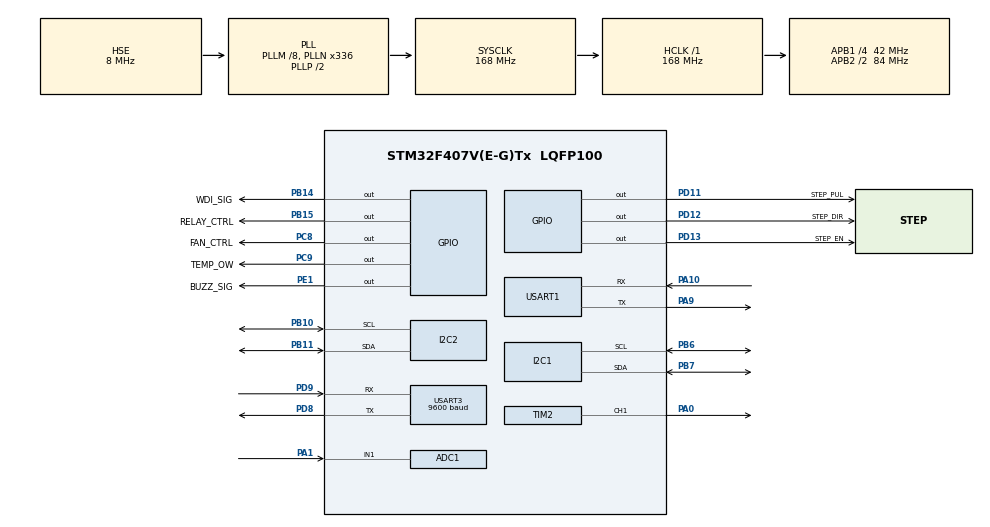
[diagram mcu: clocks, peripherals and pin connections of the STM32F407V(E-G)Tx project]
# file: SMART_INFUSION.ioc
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ADC1.Channel-0\#ChannelRegularConversion=ADC_CHANNEL_1
ADC1.NbrOfConversionFlag=1
ADC1.Rank-0\#ChannelRegularConversion=1
ADC1.SamplingTime-0\#ChannelRegularConversion=ADC_SAMPLETIME_3CYCLES
ADC1.master=1
FREERTOS.BinarySemaphores01=emergencyStopSem,Dynamic,NULL,Depleted
FREERTOS.INCLUDE_pcTaskGetTaskName=1
FREERTOS.Mutexes01=i2c1Mutex,Dynamic,NULL,Available;i2c2Mutex,Dynamic,NULL,Available
FREERTOS.Tasks01=defaultTask,24,256,StartDefaultTask,As weak,NULL,Dynamic,NULL,NULL;MotorTask,32,512,vMotorControlTask,As weak,NULL,Dynamic,NULL,NULL;SafetyTask,48,256,vSafetyMonitorTask,As weak,NULL,Dynamic,NULL,NULL;TempTask,24,256,vTemperatureTask,As weak,NULL,Dynamic,NULL,NULL;DisplayTask,16,512,vDisplayTask,As weak,NULL,Dynamic,NULL,NULL;CommTask,16,512,vCommunicationTask,As weak,NULL,Dynamic,NULL,NULL;PressureTask,24,256,vPressureTask,As weak,NULL,Dynamic,NULL,NULL
FREERTOS.configQUEUE_REGISTRY_SIZE=10
FREERTOS.configTOTAL_HEAP_SIZE=32768
I2C1.I2C_Mode=I2C_Fast
I2C2.I2C_Mode=I2C_Fast
Mcu.Family=STM32F4
Mcu.Name=STM32F407V(E-G)Tx
Mcu.Package=LQFP100
NVIC.ADC_IRQn=true\:5\:0\:false\:false\:true\:true\:true\:true\:true
NVIC.I2C1_ER_IRQn=true\:5\:0\:false\:false\:true\:true\:true\:true\:true
NVIC.I2C1_EV_IRQn=true\:5\:0\:false\:false\:true\:true\:true\:true\:true
NVIC.I2C2_ER_IRQn=true\:5\:0\:false\:false\:true\:true\:true\:true\:true
NVIC.I2C2_EV_IRQn=true\:5\:0\:false\:false\:true\:true\:true\:true\:true
NVIC.PriorityGroup=NVIC_PRIORITYGROUP_4
NVIC.TIM3_IRQn=true\:5\:0\:false\:false\:true\:true\:true\:true\:true
NVIC.USART1_IRQn=true\:5\:0\:false\:false\:true\:true\:true\:true\:true
NVIC.USART3_IRQn=true\:5\:0\:false\:false\:true\:true\:true\:true\:true
PA0-WKUP.Signal=S_TIM2_CH1_ETR
PA1.Signal=ADCx_IN1
PA10.Mode=Asynchronous
PA10.Signal=USART1_RX
PA13.Mode=Serial_Wire
PA13.Signal=SYS_JTMS-SWDIO
PA14.Mode=Serial_Wire
PA14.Signal=SYS_JTCK-SWCLK
PA9.Mode=Asynchronous
PA9.Signal=USART1_TX
PB10.Mode=I2C
PB10.Signal=I2C2_SCL
PB11.Mode=I2C
PB11.Signal=I2C2_SDA
PB14.GPIO_Label=WDI_SIG
PB14.GPIO_Speed=GPIO_SPEED_FREQ_HIGH
PB14.Signal=GPIO_Output
PB15.GPIO_Label=RELAY_CTRL
PB15.Signal=GPIO_Output
PB6.Mode=I2C
PB6.Signal=I2C1_SCL
PB7.Mode=I2C
PB7.Signal=I2C1_SDA
PC8.GPIO_Label=FAN_CTRL
PC8.Signal=GPIO_Output
PC9.GPIO_Label=TEMP_OW
PC9.GPIO_ModeDefaultOutputPP=GPIO_MODE_OUTPUT_OD
PC9.GPIO_PuPd=GPIO_NOPULL
PC9.GPIO_Speed=GPIO_SPEED_FREQ_VERY_HIGH
PC9.PinState=GPIO_PIN_SET
PC9.Signal=GPIO_Output
PD11.GPIO_Label=STEP_PUL
PD11.GPIO_Speed=GPIO_SPEED_FREQ_VERY_HIGH
PD11.Signal=GPIO_Output
PD12.GPIO_Label=STEP_DIR
PD12.Signal=GPIO_Output
PD13.GPIO_Label=STEP_EN
PD13.Signal=GPIO_Output
PD8.Mode=Asynchronous
PD8.Signal=USART3_TX
PD9.Mode=Asynchronous
PD9.Signal=USART3_RX
PE1.GPIO_Label=BUZZ_SIG
PE1.Signal=GPIO_Output
PH0-OSC_IN.Mode=HSE-External-Oscillator
PH0-OSC_IN.Signal=RCC_OSC_IN
PH1-OSC_OUT.Mode=HSE-External-Oscillator
PH1-OSC_OUT.Signal=RCC_OSC_OUT
ProjectManager.HeapSize=0x400
ProjectManager.StackSize=0x800
ProjectManager.TargetToolchain=STM32CubeIDE
RCC.48MHZClocksFreq_Value=84000000
RCC.AHBFreq_Value=168000000
RCC.APB1CLKDivider=RCC_HCLK_DIV4
RCC.APB1Freq_Value=42000000
RCC.APB1TimFreq_Value=84000000
RCC.APB2CLKDivider=RCC_HCLK_DIV2
RCC.APB2Freq_Value=84000000
RCC.APB2TimFreq_Value=168000000
RCC.CortexFreq_Value=168000000
RCC.HCLKFreq_Value=168000000
RCC.HSE_VALUE=8000000
RCC.HSI_VALUE=16000000
RCC.LSE_VALUE=32768
RCC.PLLM=8
RCC.PLLN=336
RCC.PLLSourceVirtual=RCC_PLLSOURCE_HSE
RCC.SYSCLKFreq_VALUE=168000000
RCC.SYSCLKSource=RCC_SYSCLKSOURCE_PLLCLK
RCC.VCOOutputFreq_Value=336000000
SH.ADCx_IN1.0=ADC1_IN1,IN1
SH.S_TIM2_CH1_ETR.0=TIM2_CH1,PWM Generation1 CH1
TIM2.AutoReloadPreload=TIM_AUTORELOAD_PRELOAD_ENABLE
TIM2.Channel-PWM\ Generation1\ CH1=TIM_CHANNEL_1
TIM2.Period=999
TIM2.Prescaler=167
TIM3.AutoReloadPreload=TIM_AUTORELOAD_PRELOAD_ENABLE
TIM3.Period=999
TIM3.Prescaler=41
USART1.VirtualMode=VM_ASYNC
USART3.BaudRate=9600
USART3.VirtualMode=VM_ASYNC
VP_FREERTOS_VS_CMSIS_V2.Mode=CMSIS_V2
VP_TIM2_VS_ClockSourceINT.Mode=Internal
VP_TIM3_VS_ClockSourceINT.Mode=Internal
board=custom

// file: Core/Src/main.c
/* USER CODE BEGIN Header */
/**
  ******************************************************************************
  * @file           : main.c
  * @brief          : Main program body
  ******************************************************************************
  * @attention
  *
  * Copyright (c) 2026 STMicroelectronics.
  * All rights reserved.
  *
  * This software is licensed under terms that can be found in the LICENSE file
  * in the root directory of this software component.
  * If no LICENSE file comes with this software, it is provided AS-IS.
  *
  ******************************************************************************
  */
/* USER CODE END Header */
#include "main.h"
#include "cmsis_os.h"

/* USER CODE BEGIN Includes */
#include "app_data.h"
/* USER CODE END Includes */

ADC_HandleTypeDef hadc1;

I2C_HandleTypeDef hi2c1;
I2C_HandleTypeDef hi2c2;

TIM_HandleTypeDef htim2;
TIM_HandleTypeDef htim3;

UART_HandleTypeDef huart1;
UART_HandleTypeDef huart3;

/* Definitions for defaultTask */
osThreadId_t defaultTaskHandle;
const osThreadAttr_t defaultTask_attributes = {
  .name = "defaultTask",
  .stack_size = 256 * 4,
  .priority = (osPriority_t) osPriorityNormal,
};
/* Definitions for MotorTask */
osThreadId_t MotorTaskHandle;
const osThreadAttr_t MotorTask_attributes = {
  .name = "MotorTask",
  .stack_size = 512 * 4,
  .priority = (osPriority_t) osPriorityAboveNormal,
};
/* Definitions for SafetyTask */
osThreadId_t SafetyTaskHandle;
const osThreadAttr_t SafetyTask_attributes = {
  .name = "SafetyTask",
  .stack_size = 256 * 4,
  .priority = (osPriority_t) osPriorityRealtime,
};
/* Definitions for TempTask */
osThreadId_t TempTaskHandle;
const osThreadAttr_t TempTask_attributes = {
  .name = "TempTask",
  .stack_size = 256 * 4,
  .priority = (osPriority_t) osPriorityNormal,
};
/* Definitions for DisplayTask */
osThreadId_t DisplayTaskHandle;
const osThreadAttr_t DisplayTask_attributes = {
  .name = "DisplayTask",
  .stack_size = 512 * 4,
  .priority = (osPriority_t) osPriorityBelowNormal,
};
/* Definitions for CommTask */
osThreadId_t CommTaskHandle;
const osThreadAttr_t CommTask_attributes = {
  .name = "CommTask",
  .stack_size = 512 * 4,
  .priority = (osPriority_t) osPriorityBelowNormal,
};
/* Definitions for PressureTask */
osThreadId_t PressureTaskHandle;
const osThreadAttr_t PressureTask_attributes = {
  .name = "PressureTask",
  .stack_size = 256 * 4,
  .priority = (osPriority_t) osPriorityNormal,
};
/* Definitions for i2c1Mutex */
osMutexId_t i2c1MutexHandle;
const osMutexAttr_t i2c1Mutex_attributes = {
  .name = "i2c1Mutex"
};
/* Definitions for i2c2Mutex */
osMutexId_t i2c2MutexHandle;
const osMutexAttr_t i2c2Mutex_attributes = {
  .name = "i2c2Mutex"
};
/* Definitions for uart3Mutex */
osMutexId_t uart3MutexHandle;
const osMutexAttr_t uart3Mutex_attributes = {
  .name = "uart3Mutex"
};
/* Definitions for emergencyStopSem */
osSemaphoreId_t emergencyStopSemHandle;
const osSemaphoreAttr_t emergencyStopSem_attributes = {
  .name = "emergencyStopSem"
};

void SystemClock_Config(void);
static void MX_GPIO_Init(void);
static void MX_I2C1_Init(void);
static void MX_I2C2_Init(void);
static void MX_TIM2_Init(void);
static void MX_TIM3_Init(void);
static void MX_USART1_UART_Init(void);
static void MX_USART3_UART_Init(void);
static void MX_ADC1_Init(void);
void StartDefaultTask(void *argument);
void vMotorControlTask(void *argument);
void vSafetyMonitorTask(void *argument);
void vTemperatureTask(void *argument);
void vDisplayTask(void *argument);
void vCommunicationTask(void *argument);
void vPressureTask(void *argument);

int main(void)
{

  /* MCU Configuration--------------------------------------------------------*/

  /* Reset of all peripherals, Initializes the Flash interface and the Systick. */
  HAL_Init();

  /* Configure the system clock */
  SystemClock_Config();

  /* Initialize all configured peripherals */
  MX_GPIO_Init();
  MX_I2C1_Init();
  MX_I2C2_Init();
  MX_TIM2_Init();
  MX_TIM3_Init();
  MX_USART1_UART_Init();
  MX_USART3_UART_Init();
  MX_ADC1_Init();
  /* USER CODE BEGIN 2 */
  HAL_TIM_Base_Start_IT(&htim3);

  /* Fix ADC1 sampling time to 480 cycles */
  /* for accurate VREF measurement */
  ADC_ChannelConfTypeDef adcFix = {0};
  adcFix.Channel = ADC_CHANNEL_1;
  adcFix.Rank = 1;
  adcFix.SamplingTime = ADC_SAMPLETIME_480CYCLES;
  HAL_ADC_ConfigChannel(&hadc1, &adcFix);
  /* USER CODE END 2 */

  /* Init scheduler */
  osKernelInitialize();
  /* Create the mutex(es) */
  /* creation of i2c1Mutex */
  i2c1MutexHandle = osMutexNew(&i2c1Mutex_attributes);

  /* creation of i2c2Mutex */
  i2c2MutexHandle = osMutexNew(&i2c2Mutex_attributes);

  /* creation of uart3Mutex */
  uart3MutexHandle = osMutexNew(
      &uart3Mutex_attributes);

  /* Create the semaphores(s) */
  /* creation of emergencyStopSem */
  emergencyStopSemHandle = osSemaphoreNew(1, 0, &emergencyStopSem_attributes);

  /* USER CODE BEGIN RTOS_QUEUES */

  motorCommandQueueHandle = osMessageQueueNew(5,
      sizeof(MotorCommand_t), NULL);

  temperatureQueueHandle = osMessageQueueNew(1,
      sizeof(float), NULL);

  flowRateQueueHandle = osMessageQueueNew(1,
      sizeof(float), NULL);

  volumeQueueHandle = osMessageQueueNew(1,
      sizeof(float), NULL);

  alarmQueueHandle = osMessageQueueNew(1,
      sizeof(AlarmState_t), NULL);

  batteryQueueHandle = osMessageQueueNew(1,
      sizeof(uint8_t), NULL);

  /* USER CODE END RTOS_QUEUES */

  /* Create the thread(s) */
  /* creation of defaultTask */
  defaultTaskHandle = osThreadNew(StartDefaultTask, NULL, &defaultTask_attributes);

  /* creation of MotorTask */
  MotorTaskHandle = osThreadNew(vMotorControlTask, NULL, &MotorTask_attributes);

  /* creation of SafetyTask */
  SafetyTaskHandle = osThreadNew(vSafetyMonitorTask, NULL, &SafetyTask_attributes);

  /* creation of TempTask */
  TempTaskHandle = osThreadNew(vTemperatureTask, NULL, &TempTask_attributes);

  /* creation of DisplayTask */
  DisplayTaskHandle = osThreadNew(vDisplayTask, NULL, &DisplayTask_attributes);

  /* creation of CommTask */
  CommTaskHandle = osThreadNew(vCommunicationTask, NULL, &CommTask_attributes);

  /* creation of PressureTask */
  PressureTaskHandle = osThreadNew(vPressureTask, NULL, &PressureTask_attributes);

  /* Start scheduler */
  osKernelStart();

  /* We should never get here as control is now taken by the scheduler */

  /* Infinite loop */
  while (1)
  {

  }
}

void SystemClock_Config(void)
{
  RCC_OscInitTypeDef RCC_OscInitStruct = {0};
  RCC_ClkInitTypeDef RCC_ClkInitStruct = {0};

  /** Configure the main internal regulator output voltage
  */
  __HAL_RCC_PWR_CLK_ENABLE();
  __HAL_PWR_VOLTAGESCALING_CONFIG(PWR_REGULATOR_VOLTAGE_SCALE1);

  /** Initializes the RCC Oscillators according to the specified parameters
  * in the RCC_OscInitTypeDef structure.
  */
  RCC_OscInitStruct.OscillatorType = RCC_OSCILLATORTYPE_HSE;
  RCC_OscInitStruct.HSEState = RCC_HSE_ON;
  RCC_OscInitStruct.PLL.PLLState = RCC_PLL_ON;
  RCC_OscInitStruct.PLL.PLLSource = RCC_PLLSOURCE_HSE;
  RCC_OscInitStruct.PLL.PLLM = 8;
  RCC_OscInitStruct.PLL.PLLN = 336;
  RCC_OscInitStruct.PLL.PLLP = RCC_PLLP_DIV2;
  RCC_OscInitStruct.PLL.PLLQ = 4;
  if (HAL_RCC_OscConfig(&RCC_OscInitStruct) != HAL_OK)
  {
    Error_Handler();
  }

  /** Initializes the CPU, AHB and APB buses clocks
  */
  RCC_ClkInitStruct.ClockType = RCC_CLOCKTYPE_HCLK|RCC_CLOCKTYPE_SYSCLK
                              |RCC_CLOCKTYPE_PCLK1|RCC_CLOCKTYPE_PCLK2;
  RCC_ClkInitStruct.SYSCLKSource = RCC_SYSCLKSOURCE_PLLCLK;
  RCC_ClkInitStruct.AHBCLKDivider = RCC_SYSCLK_DIV1;
  RCC_ClkInitStruct.APB1CLKDivider = RCC_HCLK_DIV4;
  RCC_ClkInitStruct.APB2CLKDivider = RCC_HCLK_DIV2;

  if (HAL_RCC_ClockConfig(&RCC_ClkInitStruct, FLASH_LATENCY_5) != HAL_OK)
  {
    Error_Handler();
  }
}

static void MX_ADC1_Init(void)
{

  ADC_ChannelConfTypeDef sConfig = {0};

  /** Configure the global features of the ADC (Clock, Resolution, Data Alignment and number of conversion)
  */
  hadc1.Instance = ADC1;
  hadc1.Init.ClockPrescaler = ADC_CLOCK_SYNC_PCLK_DIV4;
  hadc1.Init.Resolution = ADC_RESOLUTION_12B;
  hadc1.Init.ScanConvMode = DISABLE;
  hadc1.Init.ContinuousConvMode = DISABLE;
  hadc1.Init.DiscontinuousConvMode = DISABLE;
  hadc1.Init.ExternalTrigConvEdge = ADC_EXTERNALTRIGCONVEDGE_NONE;
  hadc1.Init.ExternalTrigConv = ADC_SOFTWARE_START;
  hadc1.Init.DataAlign = ADC_DATAALIGN_RIGHT;
  hadc1.Init.NbrOfConversion = 1;
  hadc1.Init.DMAContinuousRequests = DISABLE;
  hadc1.Init.EOCSelection = ADC_EOC_SINGLE_CONV;
  if (HAL_ADC_Init(&hadc1) != HAL_OK)
  {
    Error_Handler();
  }

  /** Configure for the selected ADC regular channel its corresponding rank in the sequencer and its sample time.
  */
  sConfig.Channel = ADC_CHANNEL_1;
  sConfig.Rank = 1;
  sConfig.SamplingTime = ADC_SAMPLETIME_3CYCLES;
  if (HAL_ADC_ConfigChannel(&hadc1, &sConfig) != HAL_OK)
  {
    Error_Handler();
  }

}

static void MX_I2C1_Init(void)
{

  hi2c1.Instance = I2C1;
  hi2c1.Init.ClockSpeed = 400000;
  hi2c1.Init.DutyCycle = I2C_DUTYCYCLE_2;
  hi2c1.Init.OwnAddress1 = 0;
  hi2c1.Init.AddressingMode = I2C_ADDRESSINGMODE_7BIT;
  hi2c1.Init.DualAddressMode = I2C_DUALADDRESS_DISABLE;
  hi2c1.Init.OwnAddress2 = 0;
  hi2c1.Init.GeneralCallMode = I2C_GENERALCALL_DISABLE;
  hi2c1.Init.NoStretchMode = I2C_NOSTRETCH_DISABLE;
  if (HAL_I2C_Init(&hi2c1) != HAL_OK)
  {
    Error_Handler();
  }

}

static void MX_I2C2_Init(void)
{

  hi2c2.Instance = I2C2;
  hi2c2.Init.ClockSpeed = 400000;
  hi2c2.Init.DutyCycle = I2C_DUTYCYCLE_2;
  hi2c2.Init.OwnAddress1 = 0;
  hi2c2.Init.AddressingMode = I2C_ADDRESSINGMODE_7BIT;
  hi2c2.Init.DualAddressMode = I2C_DUALADDRESS_DISABLE;
  hi2c2.Init.OwnAddress2 = 0;
  hi2c2.Init.GeneralCallMode = I2C_GENERALCALL_DISABLE;
  hi2c2.Init.NoStretchMode = I2C_NOSTRETCH_DISABLE;
  if (HAL_I2C_Init(&hi2c2) != HAL_OK)
  {
    Error_Handler();
  }

}

static void MX_TIM2_Init(void)
{

  TIM_ClockConfigTypeDef sClockSourceConfig = {0};
  TIM_MasterConfigTypeDef sMasterConfig = {0};
  TIM_OC_InitTypeDef sConfigOC = {0};

  htim2.Instance = TIM2;
  htim2.Init.Prescaler = 167;
  htim2.Init.CounterMode = TIM_COUNTERMODE_UP;
  htim2.Init.Period = 999;
  htim2.Init.ClockDivision = TIM_CLOCKDIVISION_DIV1;
  htim2.Init.AutoReloadPreload = TIM_AUTORELOAD_PRELOAD_ENABLE;
  if (HAL_TIM_Base_Init(&htim2) != HAL_OK)
  {
    Error_Handler();
  }
  sClockSourceConfig.ClockSource = TIM_CLOCKSOURCE_INTERNAL;
  if (HAL_TIM_ConfigClockSource(&htim2, &sClockSourceConfig) != HAL_OK)
  {
    Error_Handler();
  }
  if (HAL_TIM_PWM_Init(&htim2) != HAL_OK)
  {
    Error_Handler();
  }
  sMasterConfig.MasterOutputTrigger = TIM_TRGO_RESET;
  sMasterConfig.MasterSlaveMode = TIM_MASTERSLAVEMODE_DISABLE;
  if (HAL_TIMEx_MasterConfigSynchronization(&htim2, &sMasterConfig) != HAL_OK)
  {
    Error_Handler();
  }
  sConfigOC.OCMode = TIM_OCMODE_PWM1;
  sConfigOC.Pulse = 0;
  sConfigOC.OCPolarity = TIM_OCPOLARITY_HIGH;
  sConfigOC.OCFastMode = TIM_OCFAST_DISABLE;
  if (HAL_TIM_PWM_ConfigChannel(&htim2, &sConfigOC, TIM_CHANNEL_1) != HAL_OK)
  {
    Error_Handler();
  }
  HAL_TIM_MspPostInit(&htim2);

}

static void MX_TIM3_Init(void)
{

  TIM_ClockConfigTypeDef sClockSourceConfig = {0};
  TIM_MasterConfigTypeDef sMasterConfig = {0};

  htim3.Instance = TIM3;
  htim3.Init.Prescaler = 41;
  htim3.Init.CounterMode = TIM_COUNTERMODE_UP;
  htim3.Init.Period = 999;
  htim3.Init.ClockDivision = TIM_CLOCKDIVISION_DIV1;
  htim3.Init.AutoReloadPreload = TIM_AUTORELOAD_PRELOAD_ENABLE;
  if (HAL_TIM_Base_Init(&htim3) != HAL_OK)
  {
    Error_Handler();
  }
  sClockSourceConfig.ClockSource = TIM_CLOCKSOURCE_INTERNAL;
  if (HAL_TIM_ConfigClockSource(&htim3, &sClockSourceConfig) != HAL_OK)
  {
    Error_Handler();
  }
  sMasterConfig.MasterOutputTrigger = TIM_TRGO_RESET;
  sMasterConfig.MasterSlaveMode = TIM_MASTERSLAVEMODE_DISABLE;
  if (HAL_TIMEx_MasterConfigSynchronization(&htim3, &sMasterConfig) != HAL_OK)
  {
    Error_Handler();
  }

}

static void MX_USART1_UART_Init(void)
{

  huart1.Instance = USART1;
  huart1.Init.BaudRate = 115200;
  huart1.Init.WordLength = UART_WORDLENGTH_8B;
  huart1.Init.StopBits = UART_STOPBITS_1;
  huart1.Init.Parity = UART_PARITY_NONE;
  huart1.Init.Mode = UART_MODE_TX_RX;
  huart1.Init.HwFlowCtl = UART_HWCONTROL_NONE;
  huart1.Init.OverSampling = UART_OVERSAMPLING_16;
  if (HAL_UART_Init(&huart1) != HAL_OK)
  {
    Error_Handler();
  }

}

static void MX_USART3_UART_Init(void)
{

  huart3.Instance = USART3;
  huart3.Init.BaudRate = 9600;
  huart3.Init.WordLength = UART_WORDLENGTH_8B;
  huart3.Init.StopBits = UART_STOPBITS_1;
  huart3.Init.Parity = UART_PARITY_NONE;
  huart3.Init.Mode = UART_MODE_TX_RX;
  huart3.Init.HwFlowCtl = UART_HWCONTROL_NONE;
  huart3.Init.OverSampling = UART_OVERSAMPLING_16;
  if (HAL_UART_Init(&huart3) != HAL_OK)
  {
    Error_Handler();
  }

}

static void MX_GPIO_Init(void)
{
  GPIO_InitTypeDef GPIO_InitStruct = {0};

  /* GPIO Ports Clock Enable */
  __HAL_RCC_GPIOH_CLK_ENABLE();
  __HAL_RCC_GPIOA_CLK_ENABLE();
  __HAL_RCC_GPIOB_CLK_ENABLE();
  __HAL_RCC_GPIOD_CLK_ENABLE();
  __HAL_RCC_GPIOC_CLK_ENABLE();
  __HAL_RCC_GPIOE_CLK_ENABLE();

  /*Configure GPIO pin Output Level */
  HAL_GPIO_WritePin(GPIOB, WDI_SIG_Pin|RELAY_CTRL_Pin, GPIO_PIN_RESET);

  /*Configure GPIO pin Output Level */
  HAL_GPIO_WritePin(GPIOD, STEP_PUL_Pin|STEP_DIR_Pin|STEP_EN_Pin, GPIO_PIN_RESET);

  /*Configure GPIO pin Output Level */
  HAL_GPIO_WritePin(FAN_CTRL_GPIO_Port, FAN_CTRL_Pin, GPIO_PIN_RESET);

  /*Configure GPIO pin Output Level */
  HAL_GPIO_WritePin(TEMP_OW_GPIO_Port, TEMP_OW_Pin, GPIO_PIN_SET);

  /*Configure GPIO pin Output Level */
  HAL_GPIO_WritePin(BUZZ_SIG_GPIO_Port, BUZZ_SIG_Pin, GPIO_PIN_RESET);

  /*Configure GPIO pin : WDI_SIG_Pin */
  GPIO_InitStruct.Pin = WDI_SIG_Pin;
  GPIO_InitStruct.Mode = GPIO_MODE_OUTPUT_PP;
  GPIO_InitStruct.Pull = GPIO_NOPULL;
  GPIO_InitStruct.Speed = GPIO_SPEED_FREQ_HIGH;
  HAL_GPIO_Init(WDI_SIG_GPIO_Port, &GPIO_InitStruct);

  /*Configure GPIO pin : RELAY_CTRL_Pin */
  GPIO_InitStruct.Pin = RELAY_CTRL_Pin;
  GPIO_InitStruct.Mode = GPIO_MODE_OUTPUT_PP;
  GPIO_InitStruct.Pull = GPIO_NOPULL;
  GPIO_InitStruct.Speed = GPIO_SPEED_FREQ_LOW;
  HAL_GPIO_Init(RELAY_CTRL_GPIO_Port, &GPIO_InitStruct);

  /*Configure GPIO pin : STEP_PUL_Pin */
  GPIO_InitStruct.Pin = STEP_PUL_Pin;
  GPIO_InitStruct.Mode = GPIO_MODE_OUTPUT_PP;
  GPIO_InitStruct.Pull = GPIO_NOPULL;
  GPIO_InitStruct.Speed = GPIO_SPEED_FREQ_VERY_HIGH;
  HAL_GPIO_Init(STEP_PUL_GPIO_Port, &GPIO_InitStruct);

  /*Configure GPIO pins : STEP_DIR_Pin STEP_EN_Pin */
  GPIO_InitStruct.Pin = STEP_DIR_Pin|STEP_EN_Pin;
  GPIO_InitStruct.Mode = GPIO_MODE_OUTPUT_PP;
  GPIO_InitStruct.Pull = GPIO_NOPULL;
  GPIO_InitStruct.Speed = GPIO_SPEED_FREQ_LOW;
  HAL_GPIO_Init(GPIOD, &GPIO_InitStruct);

  /*Configure GPIO pin : FAN_CTRL_Pin */
  GPIO_InitStruct.Pin = FAN_CTRL_Pin;
  GPIO_InitStruct.Mode = GPIO_MODE_OUTPUT_PP;
  GPIO_InitStruct.Pull = GPIO_NOPULL;
  GPIO_InitStruct.Speed = GPIO_SPEED_FREQ_LOW;
  HAL_GPIO_Init(FAN_CTRL_GPIO_Port, &GPIO_InitStruct);

  /*Configure GPIO pin : TEMP_OW_Pin */
  GPIO_InitStruct.Pin = TEMP_OW_Pin;
  GPIO_InitStruct.Mode = GPIO_MODE_OUTPUT_OD;
  GPIO_InitStruct.Pull = GPIO_NOPULL;
  GPIO_InitStruct.Speed = GPIO_SPEED_FREQ_VERY_HIGH;
  HAL_GPIO_Init(TEMP_OW_GPIO_Port, &GPIO_InitStruct);

  /*Configure GPIO pin : BUZZ_SIG_Pin */
  GPIO_InitStruct.Pin = BUZZ_SIG_Pin;
  GPIO_InitStruct.Mode = GPIO_MODE_OUTPUT_PP;
  GPIO_InitStruct.Pull = GPIO_NOPULL;
  GPIO_InitStruct.Speed = GPIO_SPEED_FREQ_LOW;
  HAL_GPIO_Init(BUZZ_SIG_GPIO_Port, &GPIO_InitStruct);

}

__weak void StartDefaultTask(void *argument)
{
  for(;;)
  {
    osDelay(1);
  }
}

__weak void vMotorControlTask(void *argument)
{
  for(;;)
  {
    osDelay(1);
  }
}

__weak void vSafetyMonitorTask(void *argument)
{
  for(;;)
  {
    osDelay(1);
  }
}

__weak void vTemperatureTask(void *argument)
{
  for(;;)
  {
    osDelay(1);
  }
}

__weak void vDisplayTask(void *argument)
{
  for(;;)
  {
    osDelay(1);
  }
}

__weak void vCommunicationTask(void *argument)
{
  for(;;)
  {
    osDelay(1);
  }
}

__weak void vPressureTask(void *argument)
{
  for(;;)
  {
    osDelay(1);
  }
}

void Error_Handler(void)
{
  __disable_irq();
  while (1)
  {
  }
}

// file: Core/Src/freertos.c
/* USER CODE BEGIN Header */
/**
  ******************************************************************************
  * File Name          : freertos.c
  * Description        : Code for freertos applications
  ******************************************************************************
  * @attention
  *
  * Copyright (c) 2026 STMicroelectronics.
  * All rights reserved.
  *
  * This software is licensed under terms that can be found in the LICENSE file
  * in the root directory of this software component.
  * If no LICENSE file comes with this software, it is provided AS-IS.
  *
  ******************************************************************************
  */
/* USER CODE END Header */

#include "FreeRTOS.h"
#include "task.h"
#include "main.h"

/* USER CODE BEGIN Includes */
#include "app_data.h"
#include "main.h"
#include "string.h"
#include "stdio.h"
#include "stdlib.h"
/* USER CODE END Includes */

/* USER CODE BEGIN Variables */

osMessageQueueId_t motorCommandQueueHandle;
osMessageQueueId_t temperatureQueueHandle;
osMessageQueueId_t flowRateQueueHandle;
osMessageQueueId_t volumeQueueHandle;
osMessageQueueId_t alarmQueueHandle;
osMessageQueueId_t batteryQueueHandle;

/* USER CODE END Variables */

/* USER CODE BEGIN Application */
/* USER CODE BEGIN Application */

/* ============================================
 * AT24C256 EEPROM DRIVER
 * I2C1 — Address 0x50 — 32KB storage
 * ============================================ */
#define EEPROM_ADDR         0xA0
#define EEPROM_WRITE_TIME   5
#define EEPROM_VALID_KEY    0xAB

#define EEPROM_ADDR_FLOW    0x0000
#define EEPROM_ADDR_VOL     0x0004
#define EEPROM_ADDR_SYR     0x0008
#define EEPROM_ADDR_VALID   0x000C

static void EEPROM_WriteByte(
    uint16_t addr, uint8_t data)
{
    uint8_t buf[3];
    buf[0] = (uint8_t)(addr >> 8);
    buf[1] = (uint8_t)(addr & 0xFF);
    buf[2] = data;
    osMutexAcquire(i2c1MutexHandle,
        osWaitForever);
    HAL_I2C_Master_Transmit(&hi2c1,
        EEPROM_ADDR, buf, 3, 20);
    osMutexRelease(i2c1MutexHandle);
    osDelay(EEPROM_WRITE_TIME);
}

static uint8_t EEPROM_ReadByte(
    uint16_t addr)
{
    uint8_t addrBuf[2];
    uint8_t data = 0;
    addrBuf[0] = (uint8_t)(addr >> 8);
    addrBuf[1] = (uint8_t)(addr & 0xFF);
    osMutexAcquire(i2c1MutexHandle,
        osWaitForever);
    HAL_I2C_Master_Transmit(&hi2c1,
        EEPROM_ADDR, addrBuf, 2, 20);
    HAL_I2C_Master_Receive(&hi2c1,
        EEPROM_ADDR, &data, 1, 20);
    osMutexRelease(i2c1MutexHandle);
    return data;
}

static void EEPROM_WriteFloat(
    uint16_t addr, float value)
{
    uint8_t *b = (uint8_t*)&value;
    for(int i = 0; i < 4; i++)
        EEPROM_WriteByte(addr + i, b[i]);
}

static float EEPROM_ReadFloat(
    uint16_t addr)
{
    float value;
    uint8_t *b = (uint8_t*)&value;
    for(int i = 0; i < 4; i++)
        b[i] = EEPROM_ReadByte(addr + i);
    return value;
}

static void EEPROM_SaveSettings(
    float flowRate, float vol,
    uint8_t syringe)
{
    EEPROM_WriteFloat(
        EEPROM_ADDR_FLOW, flowRate);
    EEPROM_WriteFloat(
        EEPROM_ADDR_VOL, vol);
    EEPROM_WriteByte(
        EEPROM_ADDR_SYR, syringe);
    EEPROM_WriteByte(
        EEPROM_ADDR_VALID, EEPROM_VALID_KEY);
}

static uint8_t EEPROM_LoadSettings(
    float *flowRate, float *vol,
    uint8_t *syringe)
{
    uint8_t valid = EEPROM_ReadByte(
        EEPROM_ADDR_VALID);
    if(valid != EEPROM_VALID_KEY)
    {
        *flowRate = 50.0f;
        *vol = 100.0f;
        *syringe = 2;
        return 0;
    }
    *flowRate = EEPROM_ReadFloat(
        EEPROM_ADDR_FLOW);
    *vol = EEPROM_ReadFloat(
        EEPROM_ADDR_VOL);
    *syringe = EEPROM_ReadByte(
        EEPROM_ADDR_SYR);
    return 1;
}
/* ============================================
 * SYRINGE SIZE HELPER FUNCTIONS
 * ============================================ */
static uint32_t getStepsPerML(void)
{
    /* Default 20mL syringe */
    /* TODO: Read SW2 DIP switch when */
    /* GPIO pins are assigned for SW2 */
    return STEPS_PER_ML_20ML;
}

static float getMLPerStep(void)
{
    return 1.0f / (float)getStepsPerML();
}

/* ============================================
 * DS18B20 ONE WIRE DRIVER FUNCTIONS
 * ============================================ */

/* Send reset pulse and check presence */
static uint8_t DS18B20_Reset(void)
{
    uint8_t presence = 0;

    /* Pull line LOW for 480us */
    GPIO_InitTypeDef GPIO_InitStruct = {0};
    GPIO_InitStruct.Pin = TEMP_OW_Pin;
    GPIO_InitStruct.Mode = GPIO_MODE_OUTPUT_OD;
    GPIO_InitStruct.Pull = GPIO_NOPULL;
    GPIO_InitStruct.Speed = GPIO_SPEED_FREQ_VERY_HIGH;
    HAL_GPIO_Init(TEMP_OW_GPIO_Port, &GPIO_InitStruct);

    HAL_GPIO_WritePin(TEMP_OW_GPIO_Port,
        TEMP_OW_Pin, GPIO_PIN_RESET);
    HAL_Delay(1); /* ~480us minimum */

    /* Release line */
    HAL_GPIO_WritePin(TEMP_OW_GPIO_Port,
        TEMP_OW_Pin, GPIO_PIN_SET);
    HAL_Delay(1);

    /* Check for presence pulse */
    if(HAL_GPIO_ReadPin(TEMP_OW_GPIO_Port,
        TEMP_OW_Pin) == GPIO_PIN_RESET)
    {
        presence = 1;
    }

    HAL_Delay(1);
    return presence;
}

/* Write one bit to one wire bus */
static void DS18B20_WriteBit(uint8_t bit)
{
    HAL_GPIO_WritePin(TEMP_OW_GPIO_Port,
        TEMP_OW_Pin, GPIO_PIN_RESET);

    if(bit)
    {
        /* Write 1 - release within 15us */
        for(volatile int i = 0; i < 100; i++);
        HAL_GPIO_WritePin(TEMP_OW_GPIO_Port,
            TEMP_OW_Pin, GPIO_PIN_SET);
        for(volatile int i = 0; i < 500; i++);
    }
    else
    {
        /* Write 0 - hold low for 60us */
        for(volatile int i = 0; i < 600; i++);
        HAL_GPIO_WritePin(TEMP_OW_GPIO_Port,
            TEMP_OW_Pin, GPIO_PIN_SET);
        for(volatile int i = 0; i < 100; i++);
    }
}

/* Write one byte to one wire bus */
static void DS18B20_WriteByte(uint8_t byte)
{
    for(int i = 0; i < 8; i++)
    {
        DS18B20_WriteBit(byte & (1 << i));
    }
}

/* Read one bit from one wire bus */
static uint8_t DS18B20_ReadBit(void)
{
    uint8_t bit = 0;

    HAL_GPIO_WritePin(TEMP_OW_GPIO_Port,
        TEMP_OW_Pin, GPIO_PIN_RESET);
    for(volatile int i = 0; i < 50; i++);

    HAL_GPIO_WritePin(TEMP_OW_GPIO_Port,
        TEMP_OW_Pin, GPIO_PIN_SET);
    for(volatile int i = 0; i < 50; i++);

    bit = HAL_GPIO_ReadPin(TEMP_OW_GPIO_Port,
        TEMP_OW_Pin);

    for(volatile int i = 0; i < 500; i++);
    return bit;
}

/* Read one byte from one wire bus */
static uint8_t DS18B20_ReadByte(void)
{
    uint8_t byte = 0;
    for(int i = 0; i < 8; i++)
    {
        if(DS18B20_ReadBit())
            byte |= (1 << i);
    }
    return byte;
}

/* Start temperature conversion */
static void DS18B20_StartConversion(void)
{
    DS18B20_Reset();
    DS18B20_WriteByte(0xCC); /* Skip ROM */
    DS18B20_WriteByte(0x44); /* Convert T */
}

/* Read temperature in Celsius */
static float DS18B20_ReadTemperature(void)
{
    uint8_t byte1, byte2;
    int16_t raw;
    float temp;

    DS18B20_Reset();
    DS18B20_WriteByte(0xCC); /* Skip ROM */
    DS18B20_WriteByte(0xBE); /* Read scratchpad */

    byte1 = DS18B20_ReadByte(); /* LSB */
    byte2 = DS18B20_ReadByte(); /* MSB */

    raw = (int16_t)((byte2 << 8) | byte1);
    temp = (float)raw / 16.0f;

    return temp;
}

void vSafetyMonitorTask(void *argument)
{
    AlarmState_t currentAlarm = ALARM_NONE;
    uint32_t wdiLastKick = 0;
    uint32_t buzzerToggleTick = 0;
    uint8_t atmegaMsg[32];

    /* Enable motor relay on startup */
    HAL_GPIO_WritePin(RELAY_CTRL_GPIO_Port,
        RELAY_CTRL_Pin, GPIO_PIN_SET);

    osDelay(500);

    for(;;)
    {
        currentAlarm = ALARM_NONE;

        /* ---- Read ATmega alarm messages ---- */
        memset(atmegaMsg, 0, sizeof(atmegaMsg));
        if(HAL_UART_Receive(&huart3,
            atmegaMsg,
            sizeof(atmegaMsg) - 1,
            5) == HAL_OK)
        {
            if(strstr((char*)atmegaMsg,
                "BUBBLE"))
            {
                currentAlarm = ALARM_BUBBLE;
            }
            else if(strstr((char*)atmegaMsg,
                "LIM1_HIT"))
            {
                currentAlarm = ALARM_LIMIT_HIT;
            }
            else if(strstr((char*)atmegaMsg,
                "LIM2_HIT"))
            {
                currentAlarm = ALARM_LIMIT_HIT;
            }
            else if(strstr((char*)atmegaMsg,
                "WDT_TIMEOUT"))
            {
                currentAlarm = ALARM_WATCHDOG_FAIL;
            }

            /* If new alarm detected */
            if(currentAlarm != ALARM_NONE)
            {
                /* Stop motor immediately */
                osSemaphoreRelease(
                    emergencyStopSemHandle);

                /* Cut relay power */
                HAL_GPIO_WritePin(
                    RELAY_CTRL_GPIO_Port,
                    RELAY_CTRL_Pin,
                    GPIO_PIN_RESET);
            }
        }

        /* ---- Kick watchdog every 500ms ---- */
        if((osKernelGetTickCount() - wdiLastKick)
            >= WDI_KICK_MS)
        {
            HAL_GPIO_TogglePin(
                WDI_SIG_GPIO_Port,
                WDI_SIG_Pin);
            wdiLastKick = osKernelGetTickCount();

            /* Send heartbeat to ATmega */
            osMutexAcquire(uart3MutexHandle,
                osWaitForever);
            HAL_UART_Transmit(&huart3,
                (uint8_t*)"H\r\n", 3, 10);
            osMutexRelease(uart3MutexHandle);
        }

        /* ---- Send alarm to queue ---- */
        osMessageQueuePut(alarmQueueHandle,
            &currentAlarm, 0, 0);

        /* ---- Buzzer control ---- */
        if(currentAlarm == ALARM_NONE)
        {
            HAL_GPIO_WritePin(
                BUZZ_SIG_GPIO_Port,
                BUZZ_SIG_Pin,
                GPIO_PIN_RESET);
        }
        else
        {
            if((osKernelGetTickCount() -
                buzzerToggleTick) >= 300)
            {
                HAL_GPIO_TogglePin(
                    BUZZ_SIG_GPIO_Port,
                    BUZZ_SIG_Pin);
                buzzerToggleTick =
                    osKernelGetTickCount();
            }
        }

        osDelay(100);
    }
}

void vMotorControlTask(void *argument)
{
    MotorCommand_t cmd;
    uint32_t stepCount = 0;
    uint32_t targetSteps = 0;
    uint32_t stepDelay = 0;
    uint8_t motorRunning = 0;
    float volumeInfused = 0.0f;
    float flowRate = 0.0f;

    /* Disable motor driver on startup */
    HAL_GPIO_WritePin(STEP_EN_GPIO_Port,
        STEP_EN_Pin, GPIO_PIN_SET);

    /* Set default direction forward */
    HAL_GPIO_WritePin(STEP_DIR_GPIO_Port,
        STEP_DIR_Pin, GPIO_PIN_RESET);

    for(;;)
    {
        /* Wait for motor command - block until received */
        if(osMessageQueueGet(motorCommandQueueHandle,
            &cmd, NULL, 100) == osOK)
        {
            if(cmd.command == MOTOR_CMD_START)
            {
                /* Set direction */
                HAL_GPIO_WritePin(STEP_DIR_GPIO_Port,
                    STEP_DIR_Pin, cmd.direction);

                /* Enable driver */
                HAL_GPIO_WritePin(STEP_EN_GPIO_Port,
                    STEP_EN_Pin, GPIO_PIN_RESET);

                /* Calculate step delay from flow rate */
                /* stepDelay in ms between each step */
                if(cmd.stepFrequencyHz > 0)
                {
                    stepDelay = 1000 /
                        cmd.stepFrequencyHz;
                    if(stepDelay < 1) stepDelay = 1;
                }
                else
                {
                    stepDelay = 10;
                }

                targetSteps = cmd.targetSteps;

                /* Recalculate step delay from flow rate */
                if(cmd.flowRateMLperHr > 0)
                {
                    float stepsPerSec =
                        (cmd.flowRateMLperHr / 3600.0f) *
                        (float)getStepsPerML();
                    if(stepsPerSec > 0)
                    {
                        stepDelay = (uint32_t)(
                            1000.0f / stepsPerSec);
                        if(stepDelay < 1)
                            stepDelay = 1;
                        if(stepDelay > 10000)
                            stepDelay = 10000;
                    }
                }
                stepCount = 0;
                motorRunning = 1;
                flowRate = cmd.flowRateMLperHr;
            }
            else if(cmd.command == MOTOR_CMD_STOP ||
                    cmd.command == MOTOR_CMD_PAUSE)
            {
                motorRunning = 0;
                /* Disable driver */
                HAL_GPIO_WritePin(STEP_EN_GPIO_Port,
                    STEP_EN_Pin, GPIO_PIN_SET);
            }
        }

        /* Check emergency stop semaphore */
        if(osSemaphoreAcquire(emergencyStopSemHandle,
            0) == osOK)
        {
            motorRunning = 0;
            HAL_GPIO_WritePin(STEP_EN_GPIO_Port,
                STEP_EN_Pin, GPIO_PIN_SET);
            HAL_GPIO_WritePin(RELAY_CTRL_GPIO_Port,
                RELAY_CTRL_Pin, GPIO_PIN_RESET);
        }

        /* Generate step pulse if running */
        if(motorRunning && stepCount < targetSteps)
        {
            /* Step pulse HIGH */
            HAL_GPIO_WritePin(STEP_PUL_GPIO_Port,
                STEP_PUL_Pin, GPIO_PIN_SET);

            /* Minimum pulse width 2 microseconds */
            /* At 168MHz each loop ~6ns so 334 loops */
            for(volatile int i = 0; i < 334; i++);

            /* Step pulse LOW */
            HAL_GPIO_WritePin(STEP_PUL_GPIO_Port,
                STEP_PUL_Pin, GPIO_PIN_RESET);

            stepCount++;

            /* Update volume infused */
            /* 1 step = 0.000785 mL for 20mL syringe */
            volumeInfused += getMLPerStep();

            /* Send updated volume to queue */
            osMessageQueuePut(volumeQueueHandle,
                &volumeInfused, 0, 0);

            /* Send flow rate to queue */
            osMessageQueuePut(flowRateQueueHandle,
                &flowRate, 0, 0);

            /* Check if target reached */
            if(stepCount >= targetSteps)
            {
                motorRunning = 0;
                HAL_GPIO_WritePin(STEP_EN_GPIO_Port,
                    STEP_EN_Pin, GPIO_PIN_SET);
            }

            /* Step delay controls speed */
            osDelay(stepDelay);
        }
        else if(!motorRunning)
        {
            osDelay(10);
        }
    }
}

void vTemperatureTask(void *argument)
{
    float currentTemp = 25.0f;
    float targetTemp = TEMP_TARGET_C;
    float pidOutput = 0.0f;
    float integral = 0.0f;
    float prevError = 0.0f;
    float error = 0.0f;
    uint32_t pwmValue = 0;

    /* PID gains - tune after hardware testing */
    float Kp = 15.0f;
    float Ki = 0.05f;
    float Kd = 2.0f;

    /* Start Peltier PWM - TIM2 Channel 1 */
    HAL_TIM_PWM_Start(&htim2, TIM_CHANNEL_1);

    /* Set initial duty to 0 */
    __HAL_TIM_SET_COMPARE(&htim2,
        TIM_CHANNEL_1, 0);

    osDelay(1000); /* Wait for system to stabilize */

    for(;;)
    {
        /* Start DS18B20 conversion */
        DS18B20_StartConversion();

        /* Wait 750ms for conversion to complete */
        osDelay(750);

        /* Read temperature */
        currentTemp = DS18B20_ReadTemperature();

        /* Validate reading - ignore if out of range */
        if(currentTemp > -10.0f &&
           currentTemp < 85.0f)
        {
            /* PID calculation */
            error = targetTemp - currentTemp;

            /* Integral with anti-windup */
            integral += error * 0.75f;
            if(integral > 500.0f)
                integral = 500.0f;
            if(integral < -500.0f)
                integral = -500.0f;

            /* Derivative */
            float derivative = error - prevError;
            prevError = error;

            /* PID output */
            pidOutput = (Kp * error) +
                        (Ki * integral) +
                        (Kd * derivative);

            /* Clamp 0 to 100 percent */
            if(pidOutput > 100.0f)
                pidOutput = 100.0f;
            if(pidOutput < 0.0f)
                pidOutput = 0.0f;

            /* Convert to PWM compare value */
            /* TIM2 period = 999 */
            pwmValue = (uint32_t)(pidOutput *
                999.0f / 100.0f);

            /* Set Peltier PWM duty cycle */
            __HAL_TIM_SET_COMPARE(&htim2,
                TIM_CHANNEL_1, pwmValue);

            /* Send temperature to queue */
            osMessageQueuePut(temperatureQueueHandle,
                &currentTemp, 0, 0);
        }

        /* Check temperature safety limit */
        if(currentTemp > 42.0f)
        {
            /* Temperature too high - alarm */
            AlarmState_t alarm = ALARM_TEMP_HIGH;
            osMessageQueuePut(alarmQueueHandle,
                &alarm, 0, 0);

            /* Give emergency stop semaphore */
            osSemaphoreRelease(
                emergencyStopSemHandle);

            /* Turn off Peltier */
            __HAL_TIM_SET_COMPARE(&htim2,
                TIM_CHANNEL_1, 0);
        }

        /* Fan control based on temperature */
        if(currentTemp > 35.0f)
        {
            HAL_GPIO_WritePin(FAN_CTRL_GPIO_Port,
                FAN_CTRL_Pin, GPIO_PIN_SET);
        }
        else if(currentTemp < 32.0f)
        {
            HAL_GPIO_WritePin(FAN_CTRL_GPIO_Port,
                FAN_CTRL_Pin, GPIO_PIN_RESET);
        }

        osDelay(250);
    }
}

/* ============================================
 * SSD1306 OLED DRIVER FUNCTIONS
 * ============================================ */
#define SSD1306_ADDR        0x78
#define SSD1306_CMD         0x00
#define SSD1306_DATA        0x40
#define SSD1306_WIDTH       128
#define SSD1306_HEIGHT      64
#define SSD1306_PAGES       8

static uint8_t oledBuffer[SSD1306_WIDTH *
    SSD1306_PAGES];

/* Send single command to OLED */
static void SSD1306_SendCmd(uint8_t cmd)
{
    uint8_t buf[2];
    buf[0] = SSD1306_CMD;
    buf[1] = cmd;
    osMutexAcquire(i2c1MutexHandle,
        osWaitForever);
    HAL_I2C_Master_Transmit(&hi2c1,
        SSD1306_ADDR, buf, 2, 10);
    osMutexRelease(i2c1MutexHandle);
}

/* Initialize OLED display */
static void SSD1306_Init(void)
{
    osDelay(100);
    SSD1306_SendCmd(0xAE); /* Display OFF */
    SSD1306_SendCmd(0x20); /* Memory mode */
    SSD1306_SendCmd(0x00); /* Horizontal */
    SSD1306_SendCmd(0xB0); /* Page start */
    SSD1306_SendCmd(0xC8); /* COM scan dir */
    SSD1306_SendCmd(0x00); /* Low col addr */
    SSD1306_SendCmd(0x10); /* High col addr */
    SSD1306_SendCmd(0x40); /* Start line */
    SSD1306_SendCmd(0x81); /* Contrast */
    SSD1306_SendCmd(0xFF); /* Max contrast */
    SSD1306_SendCmd(0xA1); /* Seg remap */
    SSD1306_SendCmd(0xA6); /* Normal display */
    SSD1306_SendCmd(0xA8); /* Multiplex */
    SSD1306_SendCmd(0x3F); /* 64 rows */
    SSD1306_SendCmd(0xA4); /* Output RAM */
    SSD1306_SendCmd(0xD3); /* Display offset */
    SSD1306_SendCmd(0x00); /* No offset */
    SSD1306_SendCmd(0xD5); /* Clock divide */
    SSD1306_SendCmd(0xF0); /* Clock ratio */
    SSD1306_SendCmd(0xD9); /* Pre-charge */
    SSD1306_SendCmd(0x22); /* Pre-charge val */
    SSD1306_SendCmd(0xDA); /* COM pins */
    SSD1306_SendCmd(0x12); /* Alt COM */
    SSD1306_SendCmd(0xDB); /* VCOMH desel */
    SSD1306_SendCmd(0x20); /* 0.77xVcc */
    SSD1306_SendCmd(0x8D); /* Charge pump */
    SSD1306_SendCmd(0x14); /* Enable pump */
    SSD1306_SendCmd(0xAF); /* Display ON */
    osDelay(100);
}

/* Clear display buffer */
static void SSD1306_Clear(void)
{
    memset(oledBuffer, 0x00,
        sizeof(oledBuffer));
}

/* Update display from buffer */
static void SSD1306_Update(void)
{
    SSD1306_SendCmd(0x21); /* Col addr */
    SSD1306_SendCmd(0);
    SSD1306_SendCmd(127);
    SSD1306_SendCmd(0x22); /* Page addr */
    SSD1306_SendCmd(0);
    SSD1306_SendCmd(7);

    uint8_t txBuf[SSD1306_WIDTH + 1];
    txBuf[0] = SSD1306_DATA;

    for(int page = 0; page < SSD1306_PAGES;
        page++)
    {
        memcpy(&txBuf[1],
            &oledBuffer[page * SSD1306_WIDTH],
            SSD1306_WIDTH);
        osMutexAcquire(i2c1MutexHandle,
            osWaitForever);
        HAL_I2C_Master_Transmit(&hi2c1,
            SSD1306_ADDR, txBuf,
            SSD1306_WIDTH + 1, 20);
        osMutexRelease(i2c1MutexHandle);
    }
}

/* 5x7 font - basic ASCII characters */
static const uint8_t font5x7[][5] = {
    {0x00,0x00,0x00,0x00,0x00}, /* space */
    {0x00,0x00,0x5F,0x00,0x00}, /* ! */
    {0x00,0x07,0x00,0x07,0x00}, /* " */
    {0x14,0x7F,0x14,0x7F,0x14}, /* # */
    {0x24,0x2A,0x7F,0x2A,0x12}, /* $ */
    {0x23,0x13,0x08,0x64,0x62}, /* % */
    {0x36,0x49,0x55,0x22,0x50}, /* & */
    {0x00,0x05,0x03,0x00,0x00}, /* ' */
    {0x00,0x1C,0x22,0x41,0x00}, /* ( */
    {0x00,0x41,0x22,0x1C,0x00}, /* ) */
    {0x08,0x2A,0x1C,0x2A,0x08}, /* * */
    {0x08,0x08,0x3E,0x08,0x08}, /* + */
    {0x00,0x50,0x30,0x00,0x00}, /* , */
    {0x08,0x08,0x08,0x08,0x08}, /* - */
    {0x00,0x60,0x60,0x00,0x00}, /* . */
    {0x20,0x10,0x08,0x04,0x02}, /* / */
    {0x3E,0x51,0x49,0x45,0x3E}, /* 0 */
    {0x00,0x42,0x7F,0x40,0x00}, /* 1 */
    {0x42,0x61,0x51,0x49,0x46}, /* 2 */
    {0x21,0x41,0x45,0x4B,0x31}, /* 3 */
    {0x18,0x14,0x12,0x7F,0x10}, /* 4 */
    {0x27,0x45,0x45,0x45,0x39}, /* 5 */
    {0x3C,0x4A,0x49,0x49,0x30}, /* 6 */
    {0x01,0x71,0x09,0x05,0x03}, /* 7 */
    {0x36,0x49,0x49,0x49,0x36}, /* 8 */
    {0x06,0x49,0x49,0x29,0x1E}, /* 9 */
    {0x00,0x36,0x36,0x00,0x00}, /* : */
    {0x00,0x56,0x36,0x00,0x00}, /* ; */
    {0x00,0x08,0x14,0x22,0x41}, /* < */
    {0x14,0x14,0x14,0x14,0x14}, /* = */
    {0x41,0x22,0x14,0x08,0x00}, /* > */
    {0x02,0x01,0x51,0x09,0x06}, /* ? */
    {0x32,0x49,0x79,0x41,0x3E}, /* @ */
    {0x7E,0x11,0x11,0x11,0x7E}, /* A */
    {0x7F,0x49,0x49,0x49,0x36}, /* B */
    {0x3E,0x41,0x41,0x41,0x22}, /* C */
    {0x7F,0x41,0x41,0x22,0x1C}, /* D */
    {0x7F,0x49,0x49,0x49,0x41}, /* E */
    {0x7F,0x09,0x09,0x09,0x01}, /* F */
    {0x3E,0x41,0x41,0x49,0x7A}, /* G */
    {0x7F,0x08,0x08,0x08,0x7F}, /* H */
    {0x00,0x41,0x7F,0x41,0x00}, /* I */
    {0x20,0x40,0x41,0x3F,0x01}, /* J */
    {0x7F,0x08,0x14,0x22,0x41}, /* K */
    {0x7F,0x40,0x40,0x40,0x40}, /* L */
    {0x7F,0x02,0x04,0x02,0x7F}, /* M */
    {0x7F,0x04,0x08,0x10,0x7F}, /* N */
    {0x3E,0x41,0x41,0x41,0x3E}, /* O */
    {0x7F,0x09,0x09,0x09,0x06}, /* P */
    {0x3E,0x41,0x51,0x21,0x5E}, /* Q */
    {0x7F,0x09,0x19,0x29,0x46}, /* R */
    {0x46,0x49,0x49,0x49,0x31}, /* S */
    {0x01,0x01,0x7F,0x01,0x01}, /* T */
    {0x3F,0x40,0x40,0x40,0x3F}, /* U */
    {0x1F,0x20,0x40,0x20,0x1F}, /* V */
    {0x3F,0x40,0x38,0x40,0x3F}, /* W */
    {0x63,0x14,0x08,0x14,0x63}, /* X */
    {0x03,0x04,0x78,0x04,0x03}, /* Y */
    {0x61,0x51,0x49,0x45,0x43}, /* Z */
    {0x00,0x00,0x7F,0x41,0x41}, /* [ */
    {0x02,0x04,0x08,0x10,0x20}, /* \ */
    {0x41,0x41,0x7F,0x00,0x00}, /* ] */
    {0x04,0x02,0x01,0x02,0x04}, /* ^ */
    {0x40,0x40,0x40,0x40,0x40}, /* _ */
    {0x00,0x01,0x02,0x04,0x00}, /* ` */
    {0x20,0x54,0x54,0x54,0x78}, /* a */
    {0x7F,0x48,0x44,0x44,0x38}, /* b */
    {0x38,0x44,0x44,0x44,0x20}, /* c */
    {0x38,0x44,0x44,0x48,0x7F}, /* d */
    {0x38,0x54,0x54,0x54,0x18}, /* e */
    {0x08,0x7E,0x09,0x01,0x02}, /* f */
    {0x08,0x54,0x54,0x54,0x3C}, /* g */
    {0x7F,0x08,0x04,0x04,0x78}, /* h */
    {0x00,0x44,0x7D,0x40,0x00}, /* i */
    {0x20,0x40,0x44,0x3D,0x00}, /* j */
    {0x00,0x7F,0x10,0x28,0x44}, /* k */
    {0x00,0x41,0x7F,0x40,0x00}, /* l */
    {0x7C,0x04,0x18,0x04,0x78}, /* m */
    {0x7C,0x08,0x04,0x04,0x78}, /* n */
    {0x38,0x44,0x44,0x44,0x38}, /* o */
    {0x7C,0x14,0x14,0x14,0x08}, /* p */
    {0x08,0x14,0x14,0x18,0x7C}, /* q */
    {0x7C,0x08,0x04,0x04,0x08}, /* r */
    {0x48,0x54,0x54,0x54,0x20}, /* s */
    {0x04,0x3F,0x44,0x40,0x20}, /* t */
    {0x3C,0x40,0x40,0x40,0x7C}, /* u */
    {0x1C,0x20,0x40,0x20,0x1C}, /* v */
    {0x3C,0x40,0x30,0x40,0x3C}, /* w */
    {0x44,0x28,0x10,0x28,0x44}, /* x */
    {0x0C,0x50,0x50,0x50,0x3C}, /* y */
    {0x44,0x64,0x54,0x4C,0x44}, /* z */
};

/* Draw character at position */
static void SSD1306_DrawChar(uint8_t x,
    uint8_t page, char c)
{
    if(c < 32 || c > 122) c = 32;
    uint8_t idx = c - 32;

    for(int col = 0; col < 5; col++)
    {
        if((x + col) < SSD1306_WIDTH)
        {
            oledBuffer[page * SSD1306_WIDTH +
                x + col] = font5x7[idx][col];
        }
    }
    /* Space between characters */
    if((x + 5) < SSD1306_WIDTH)
    {
        oledBuffer[page * SSD1306_WIDTH +
            x + 5] = 0x00;
    }
}

/* Draw string at position */
static void SSD1306_DrawString(uint8_t x,
    uint8_t page, const char *str)
{
    while(*str)
    {
        SSD1306_DrawChar(x, page, *str);
        x += 6;
        str++;
        if(x >= SSD1306_WIDTH) break;
    }
}

void vDisplayTask(void *argument)
{
    float temperature = 25.0f;
    float flowRate = 0.0f;
    float volume = 0.0f;
    AlarmState_t alarm = ALARM_NONE;
    char line[22];

    /* Initialize OLED */
    SSD1306_Init();
    SSD1306_Clear();

    /* Show startup screen */
    SSD1306_DrawString(10, 0,
        "SMART INFUSION");
    SSD1306_DrawString(20, 2,
        "WALNUT MEDICAL");
    SSD1306_DrawString(25, 4,
        "Initializing");
    SSD1306_Update();
    osDelay(2000);

    for(;;)
    {
        /* Get latest values from queues */
        osMessageQueueGet(temperatureQueueHandle,
            &temperature, NULL, 0);
        osMessageQueueGet(flowRateQueueHandle,
            &flowRate, NULL, 0);
        osMessageQueueGet(volumeQueueHandle,
            &volume, NULL, 0);
        osMessageQueueGet(alarmQueueHandle,
            &alarm, NULL, 0);

        /* Clear buffer */
        SSD1306_Clear();

        /* Line 1 - Flow rate */
        snprintf(line, sizeof(line),
            "Flow:%5.1f mL/hr", flowRate);
        SSD1306_DrawString(0, 0, line);

        /* Line 2 - Volume infused */
        snprintf(line, sizeof(line),
            "Vol: %6.2f mL", volume);
        SSD1306_DrawString(0, 2, line);

        /* Line 3 - Temperature */
        snprintf(line, sizeof(line),
            "Temp:%5.1f C", temperature);
        SSD1306_DrawString(0, 4, line);

        /* Line 4 - Status or alarm */
        if(alarm == ALARM_NONE)
        {
            SSD1306_DrawString(0, 6,
                "Status:  OK");
        }
        else if(alarm == ALARM_BUBBLE)
        {
            SSD1306_DrawString(0, 6,
                "!! BUBBLE !!");
        }
        else if(alarm == ALARM_OCCLUSION)
        {
            SSD1306_DrawString(0, 6,
                "!! OCCLUSN !!");
        }
        else if(alarm == ALARM_TEMP_HIGH)
        {
            SSD1306_DrawString(0, 6,
                "!! TEMP HI !!");
        }
        else if(alarm == ALARM_LIMIT_HIT)
        {
            SSD1306_DrawString(0, 6,
                "!! LIMIT !!");
        }
        else
        {
            SSD1306_DrawString(0, 6,
                "!! ALARM !!");
        }

        /* Update OLED */
        SSD1306_Update();

        osDelay(200);
    }
}

void vCommunicationTask(void *argument)
{
    float temperature = 25.0f;
    float flowRate = 0.0f;
    float volume = 0.0f;
    uint8_t battery = 100;
    AlarmState_t alarm = ALARM_NONE;
    char txBuffer[128];
    uint8_t rxBuffer[64];

    osDelay(2000); /* Wait for system ready */

    /* Load saved settings from EEPROM */
    float savedFlow = 50.0f;
    float savedVol = 100.0f;
    uint8_t savedSyringe = 2;
    EEPROM_LoadSettings(&savedFlow,
        &savedVol, &savedSyringe);

    for(;;)
    {
        /* Get latest values */
        osMessageQueueGet(temperatureQueueHandle,
            &temperature, NULL, 0);
        osMessageQueueGet(flowRateQueueHandle,
            &flowRate, NULL, 0);
        osMessageQueueGet(volumeQueueHandle,
            &volume, NULL, 0);

        /* Read MAX17043 battery SOC */
        uint8_t socCmd = 0x04;
        uint8_t socData[2] = {0};
        osMutexAcquire(i2c2MutexHandle,
            osWaitForever);
        HAL_I2C_Master_Transmit(&hi2c2,
            0x36 << 1, &socCmd, 1, 10);
        HAL_I2C_Master_Receive(&hi2c2,
            0x36 << 1, socData, 2, 10);
        osMutexRelease(i2c2MutexHandle);
        battery = socData[0];
        osMessageQueuePut(batteryQueueHandle,
            &battery, 0, 0);

        /* Battery low alarm check */
        if(battery < 20)
        {
            AlarmState_t battAlarm =
                ALARM_BATTERY_LOW;
            osMessageQueuePut(alarmQueueHandle,
                &battAlarm, 0, 0);

            /* Stop motor if critically low */
            if(battery < 10)
            {
                osSemaphoreRelease(
                    emergencyStopSemHandle);
                HAL_GPIO_WritePin(
                    RELAY_CTRL_GPIO_Port,
                    RELAY_CTRL_Pin,
                    GPIO_PIN_RESET);
            }
        }

        osMessageQueueGet(alarmQueueHandle,
            &alarm, NULL, 0);

        /* Build JSON packet */
        snprintf(txBuffer, sizeof(txBuffer),
            "{\"t\":%.1f,\"f\":%.1f,"
            "\"v\":%.2f,\"b\":%d,"
            "\"a\":%d}\r\n",
            temperature,
            flowRate,
            volume,
            battery,
            (int)alarm);

        /* Send to ESP32 via UART1 */
        HAL_UART_Transmit(&huart1,
            (uint8_t*)txBuffer,
            strlen(txBuffer),
            100);

        /* Check for incoming command */
        memset(rxBuffer, 0, sizeof(rxBuffer));
        if(HAL_UART_Receive(&huart1,
            rxBuffer, sizeof(rxBuffer)-1,
            10) == HAL_OK)
        {
            /* Parse command from ESP32 */
            /* Expected format: */
            /* {"cmd":"start","rate":50.0} */
            /* {"cmd":"stop"} */
            /* {"cmd":"pause"} */

        	if(strstr((char*)rxBuffer,
        	    "\"start\""))
        	{
        	    MotorCommand_t cmd;
        	    cmd.command = MOTOR_CMD_START;
        	    cmd.direction = 0;

        	    /* Parse flow rate from JSON */
        	    char *ratePtr = strstr(
        	        (char*)rxBuffer, "\"rate\":");
        	    if(ratePtr)
        	    {
        	        cmd.flowRateMLperHr =
        	            (float)atof(ratePtr + 7);
        	        if(cmd.flowRateMLperHr < 1.0f)
        	            cmd.flowRateMLperHr = 1.0f;
        	        if(cmd.flowRateMLperHr > 1000.0f)
        	            cmd.flowRateMLperHr = 1000.0f;
        	    }
        	    else
        	    {
        	        cmd.flowRateMLperHr = 50.0f;
        	    }

        	    /* Parse target volume from JSON */
        	    float targetVol = 100.0f;
        	    char *volPtr = strstr(
        	        (char*)rxBuffer, "\"vol\":");
        	    if(volPtr)
        	    {
        	        targetVol =
        	            (float)atof(volPtr + 6);
        	        if(targetVol <= 0.0f)
        	            targetVol = 100.0f;
        	    }

        	    /* Calculate target steps */
        	    cmd.targetSteps = (uint32_t)(
        	        targetVol *
        	        (float)getStepsPerML());

        	    /* Calculate step frequency */
        	    float stepsPerSec =
        	        (cmd.flowRateMLperHr / 3600.0f) *
        	        (float)getStepsPerML();
        	    if(stepsPerSec < 1.0f)
        	        stepsPerSec = 1.0f;
        	    cmd.stepFrequencyHz =
        	        (uint32_t)stepsPerSec;

        	    osMessageQueuePut(
        	            motorCommandQueueHandle,
        	            &cmd, 0, 100);

        	        /* Save settings to EEPROM */
        	        EEPROM_SaveSettings(
        	            cmd.flowRateMLperHr,
        	            targetVol, 2);
        	    }
            else if(strstr((char*)rxBuffer,
                "\"stop\""))
            {
                MotorCommand_t cmd;
                cmd.command = MOTOR_CMD_STOP;
                cmd.targetSteps = 0;
                cmd.stepFrequencyHz = 0;
                osMessageQueuePut(
                    motorCommandQueueHandle,
                    &cmd, 0, 100);
            }
            else if(strstr((char*)rxBuffer,
                "\"pause\""))
            {
                MotorCommand_t cmd;
                cmd.command = MOTOR_CMD_PAUSE;
                cmd.targetSteps = 0;
                cmd.stepFrequencyHz = 0;
                osMessageQueuePut(
                    motorCommandQueueHandle,
                    &cmd, 0, 100);
            }
        }

        osDelay(1000);
    }
}

/* ============================================
 * MPRLS PRESSURE SENSOR DRIVER
 * ============================================ */
#define MPRLS_ADDR          0x18
#define MPRLS_CMD_START     0xAA
#define MPRLS_OUTPUT_MAX    0xE66666
#define MPRLS_OUTPUT_MIN    0x19999A
#define MPRLS_PRES_MAX      25.0f
#define MPRLS_PRES_MIN      0.0f

static float MPRLS_ReadPressure(void)
{
    uint8_t cmd[3] = {MPRLS_CMD_START,
        0x00, 0x00};
    uint8_t data[7] = {0};
    float pressure = 0.0f;
    uint32_t rawData = 0;

    /* Send measurement command */
    osMutexAcquire(i2c2MutexHandle,
        osWaitForever);
    HAL_I2C_Master_Transmit(&hi2c2,
        MPRLS_ADDR << 1, cmd, 3, 10);
    osMutexRelease(i2c2MutexHandle);

    /* Wait for conversion */
    osDelay(10);

    /* Read 7 bytes of data */
    osMutexAcquire(i2c2MutexHandle,
        osWaitForever);
    HAL_I2C_Master_Receive(&hi2c2,
        MPRLS_ADDR << 1, data, 7, 20);
    osMutexRelease(i2c2MutexHandle);

    /* Check status byte */
    if((data[0] & 0x20) || (data[0] & 0x08))
    {
        return -1.0f; /* Error */
    }

    /* Extract 24-bit raw pressure */
    rawData = ((uint32_t)data[3] << 16) |
              ((uint32_t)data[4] << 8) |
               (uint32_t)data[5];

    /* Convert to hPa */
    pressure = (((float)rawData -
        (float)MPRLS_OUTPUT_MIN) *
        (MPRLS_PRES_MAX - MPRLS_PRES_MIN)) /
        ((float)MPRLS_OUTPUT_MAX -
        (float)MPRLS_OUTPUT_MIN) +
        MPRLS_PRES_MIN;

    /* Convert PSI to hPa */
    pressure = pressure * 68.9476f;

    return pressure;
}

void vPressureTask(void *argument)
{
    float pressure = 0.0f;
    float baseline = 0.0f;
    float emaAlpha = 0.02f;
    uint8_t baselineReady = 0;
    uint8_t sampleCount = 0;
    float pressureSum = 0.0f;
    AlarmState_t alarm = ALARM_NONE;

    osDelay(3000); /* Wait for system ready */

    /* Establish baseline over 10 samples */
    for(int i = 0; i < 10; i++)
    {
        float p = MPRLS_ReadPressure();
        if(p > 0.0f)
        {
            pressureSum += p;
            sampleCount++;
        }
        osDelay(200);
    }

    if(sampleCount > 0)
    {
        baseline = pressureSum / sampleCount;
        baselineReady = 1;
    }

    for(;;)
    {
        pressure = MPRLS_ReadPressure();

        if(pressure > 0.0f && baselineReady)
        {
            /* Update baseline with EMA filter */
            baseline = (emaAlpha * pressure) +
                ((1.0f - emaAlpha) * baseline);

            float delta = pressure - baseline;

            /* Check occlusion threshold */
            if(delta > OCCLUSION_DELTA_HPA)
            {
                alarm = ALARM_OCCLUSION;

                /* Send alarm */
                osMessageQueuePut(
                    alarmQueueHandle,
                    &alarm, 0, 0);

                /* Stop motor immediately */
                osSemaphoreRelease(
                    emergencyStopSemHandle);

                char msg[] = "OCC\r\n";
                osMutexAcquire(uart3MutexHandle,
                    osWaitForever);
                HAL_UART_Transmit(&huart3,
                    (uint8_t*)msg,
                    strlen(msg), 50);
                osMutexRelease(uart3MutexHandle);
            }
            else
            {
                alarm = ALARM_NONE;
                osMessageQueuePut(
                    alarmQueueHandle,
                    &alarm, 0, 0);
            }
        }
        else if(!baselineReady)
        {
            /* Keep trying to establish baseline */
            if(pressure > 0.0f)
            {
                baseline = pressure;
                baselineReady = 1;
            }
        }

        osDelay(500);
    }
}
/* USER CODE END Application */
